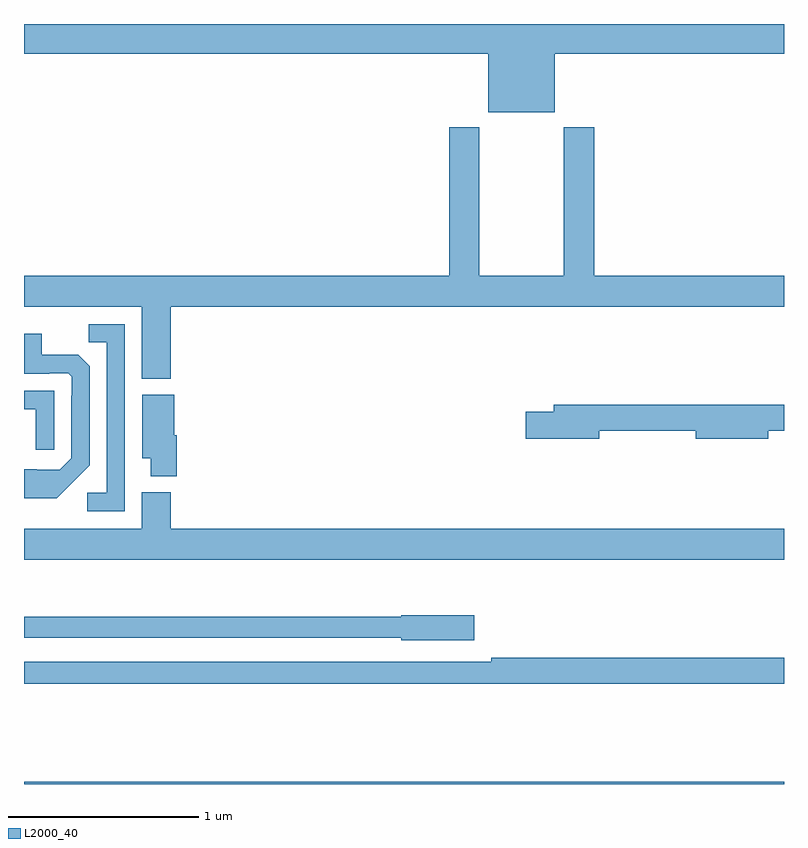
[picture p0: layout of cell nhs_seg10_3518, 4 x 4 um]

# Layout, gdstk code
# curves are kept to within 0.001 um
import gdstk
lib = gdstk.Library(unit=1e-6, precision=1e-09)
def R(c, l, rs):  # rectangles x0, y0, x1, y1
    for r in rs: c.add(gdstk.rectangle(r[:2], r[2:], *l))
def P(c, l, *ps):  # polygons
    for p in ps: c.add(gdstk.Polygon(p, *l))
L2000_40 = (2000, 40)

nhs_seg10_3518 = lib.new_cell('nhs_seg10_3518')
R(nhs_seg10_3518, L2000_40, [(303,1268.5,307,1268.512)])
P(nhs_seg10_3518, L2000_40, [(305.794,1272.344),(307,1272.344),(307,1272.5),(303,1272.5),(303,1272.344),(305.444,1272.344),(305.444,1272.035),(305.794,1272.035)],
  [(303.773,1271.012),(307,1271.012),(307,1271.176),(306.002,1271.176),(306.002,1271.956),(305.842,1271.956),(305.842,1271.176),(305.397,1271.176),(305.397,1271.956),(305.237,1271.956),(305.237,1271.176),(303,1271.176),(303,1271.012),(303.62,1271.012),(303.62,1270.634),(303.773,1270.634)],
  [(303.531,1270.92),(303.34,1270.92),(303.34,1270.825),(303.435,1270.825),(303.435,1270.032),(303.333,1270.032),(303.333,1269.936),(303.531,1269.936)],
  [(303.253,1270.085),(303.345,1270.178),(303.345,1270.7),(303.286,1270.759),(303.094,1270.759),(303.094,1270.87),(303,1270.87),(303,1270.658),(303.134,1270.658),(303.134,1270.662),(303.234,1270.662),(303.252,1270.644),(303.252,1270.544),(303.249,1270.544),(303.249,1270.215),(303.189,1270.155),(303,1270.156),(303,1270.004),(303.173,1270.004)],
  [(303.159,1270.569),(303,1270.569),(303,1270.473),(303.063,1270.473),(303.063,1270.26),(303.159,1270.26)],
  [(303.803,1270.335),(303.79,1270.335),(303.79,1270.549),(303.623,1270.549),(303.623,1270.214),(303.668,1270.214),(303.668,1270.121),(303.803,1270.121)],
  [(306.028,1270.36),(306.536,1270.36),(306.536,1270.318),(306.916,1270.318),(306.916,1270.36),(307,1270.36),(307,1270.496),(305.789,1270.496),(305.789,1270.46),(305.64,1270.46),(305.64,1270.318),(306.028,1270.318)],
  [(307,1269.844),(303.773,1269.844),(303.773,1270.036),(303.62,1270.036),(303.62,1269.844),(303,1269.844),(303,1269.68),(307,1269.68)],
  [(305.371,1269.387),(304.986,1269.387),(304.986,1269.379),(303,1269.379),(303,1269.27),(304.986,1269.27),(304.986,1269.257),(305.371,1269.257)],
  [(307,1269.164),(305.458,1269.164),(305.458,1269.144),(303,1269.144),(303,1269.028),(307,1269.028)])

lib.write_gds('nhs_seg10_3518.gds')
